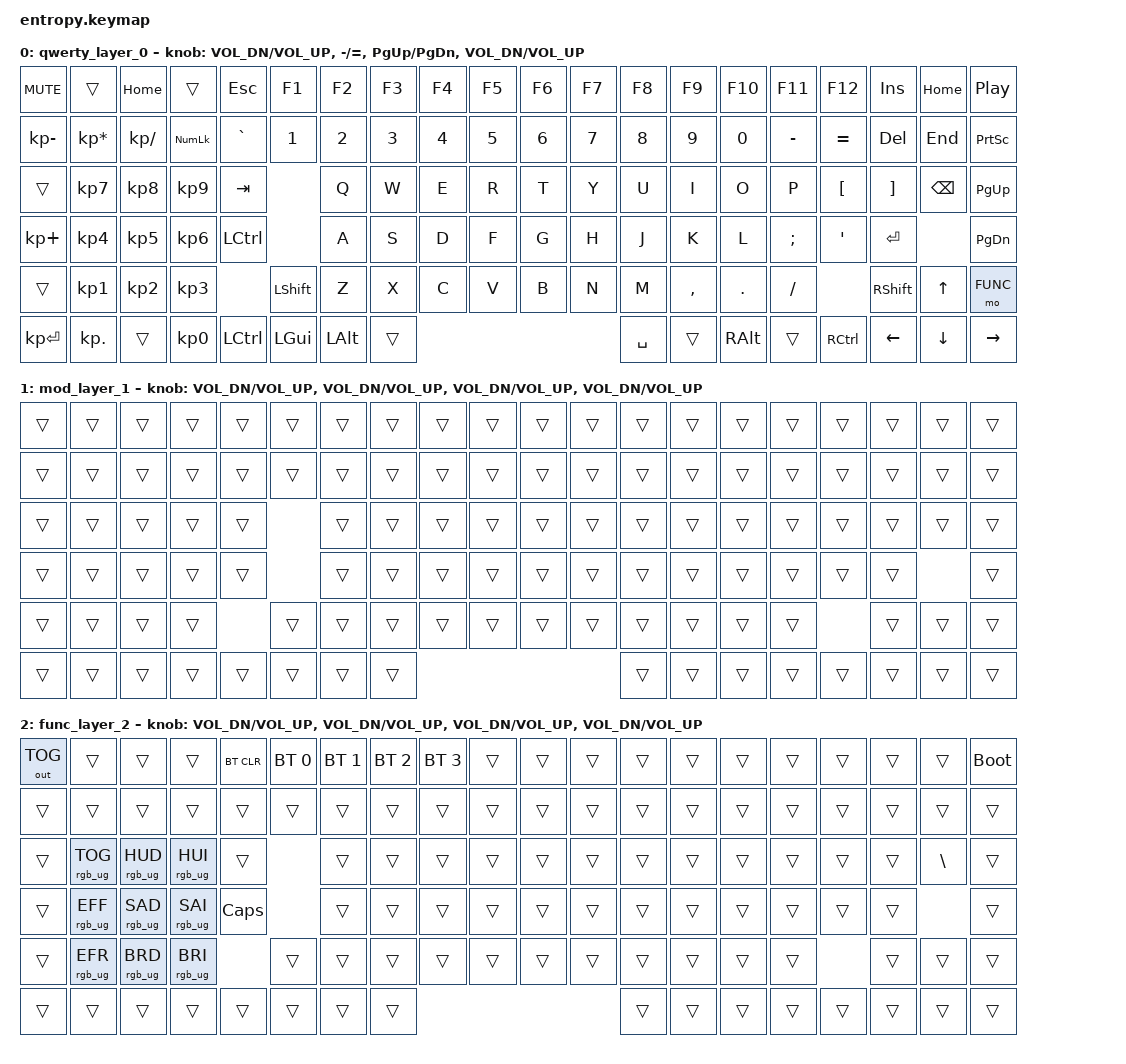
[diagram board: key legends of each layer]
/*
 * Copyright (c) 2021 Josh Johnson
 *
 * SPDX-License-Identifier: MIT
 */

#include <behaviors.dtsi>
#include <dt-bindings/zmk/keys.h>
#include <dt-bindings/zmk/rgb.h>
#include <dt-bindings/zmk/bt.h>
#include <dt-bindings/zmk/outputs.h>

#define QWER 0
#define MOD  1
#define FUNC 2

// "DNP" Denotes where a key can be placed but is not, " " is not a valid key position
// |   0   |   1   |   2   |   3   |   4   |   5   |   6   |   7   |   8   |   9   |   10  |   11  |   12  |   13  |   14  |   15  |   16  |   17  |   18  |   19  |
// |---------------------------------------------------------------------------------------------------------------------------------------------------------------|
// | MUTE  | HOME  | TBD   | TBD   | ESC   | F1    | F2    | F3    | F4    | F5    | F6    | F7    | F8    | F9    | F10   | F11   | F12   | INSRT | HOME  | PAUSE |
// | MNUS  | MUL   | DIV   | NLOCK | ~     | 1     | 2     | 3     | 4     | 5     | 6     | 7     | 8     | 9     | 0     | -     |  =    | DEL   | END   | PSCRN |
// | PLUS  | 7     | 8     | 9     | TAB   |       | Q     | W     | E     | R     | T     | Y     | U     | I     | O     | P     | [     |  ]    | BSPC  | PGUP  |
// | DNP   | 4     | 5     | 6     | LCTRL |       | A     | S     | D     | F     | G     | H     | J     | K     | L     | ;     | '     | ENTER |       | PGDN  |
// | ENTER | 1     | 2     | 3     |       | SHIFT | Z     | X     | C     | V     | B     | N     | M     | ,     | .     | /     |       | SHFT  | UP    | FUNC  |
// | DNP   | DOT   | DNP   | 0     | CTRL  | GUI   |       | ALT   |       | LSPCE | SPACE |       | RSPC  |       | ALT   | DNP   | CTRL  | LEFT  | DOWN  | RIGHT |




/ {
        keymap {
                compatible = "zmk,keymap";

                qwerty_layer_0 {

        bindings = <       
//  |   0        |   1           |   2         |   3        |   4     |   5     |   6  |   7     |   8  |   9         |   10    |   11 |   12    |   13   |   14   |   15    |   16    |   17     |   18   |   19          
    &kp C_MUTE   &trans          &kp HOME      &trans       &kp ESC   &kp F1    &kp F2 &kp F3    &kp F4 &kp F5        &kp F6    &kp F7 &kp F8    &kp F9    &kp F10  &kp F11   &kp F12   &kp INSERT &kp HOME &kp C_PP
    &kp KP_MINUS &kp KP_MULTIPLY &kp KP_DIVIDE &kp KP_NUM   &kp GRAVE &kp N1    &kp N2 &kp N3    &kp N4 &kp N5        &kp N6    &kp N7 &kp N8    &kp N9    &kp N0   &kp MINUS &kp EQUAL &kp DEL    &kp END  &kp PSCRN
    &trans       &kp KP_N7       &kp KP_N8     &kp KP_N9    &kp TAB             &kp Q  &kp W     &kp E  &kp R         &kp T     &kp Y  &kp U     &kp I     &kp O    &kp P     &kp LBKT  &kp RBKT   &kp BSPC &kp PG_UP
    &kp KP_PLUS  &kp KP_N4       &kp KP_N5     &kp KP_N6    &kp LCTRL           &kp A  &kp S     &kp D  &kp F         &kp G     &kp H  &kp J     &kp K     &kp L    &kp SEMI  &kp APOS  &kp ENTER           &kp PG_DN
    &trans       &kp KP_N1       &kp KP_N2     &kp KP_N3              &kp LSHFT &kp Z  &kp X     &kp C  &kp V         &kp B     &kp N  &kp M     &kp COMMA &kp DOT  &kp FSLH            &kp RSHFT  &kp UP   &mo FUNC  
    &kp KP_ENTER &kp KP_DOT      &trans        &kp KP_N0    &kp LCTRL &kp LGUI         &kp LALT         &trans        &kp SPACE        &trans            &kp RALT &trans    &kp RCTRL &kp LEFT   &kp DOWN &kp RIGHT
            >;

            sensor-bindings = <&inc_dec_kp C_VOL_DN C_VOL_UP &inc_dec_kp MINUS EQUAL &inc_dec_kp PG_UP PG_DN &inc_dec_kp C_VOL_DN C_VOL_UP>;
        };

                mod_layer_1 {

        bindings = <       
//  |   0        |   1           |   2         |   3       |   4     |   5     |   6        |   7        |   8      |   9      |   10     |   11 |   12    |   13   |   14   |   15    |   16    |   17     |   18     |   19          
    &trans       &trans          &trans        &trans      &trans    &trans    &trans       &trans       &trans     &trans     &trans     &trans &trans    &trans   &trans   &trans    &trans    &trans     &trans     &trans   
    &trans       &trans          &trans        &trans      &trans    &trans    &trans       &trans       &trans     &trans     &trans     &trans &trans    &trans   &trans   &trans    &trans    &trans     &trans     &trans 
    &trans       &trans          &trans        &trans      &trans              &trans       &trans       &trans     &trans     &trans     &trans &trans    &trans   &trans   &trans    &trans    &trans     &trans     &trans
    &trans       &trans          &trans        &trans      &trans              &trans       &trans       &trans     &trans     &trans     &trans &trans   &trans    &trans   &trans    &trans    &trans                &trans
    &trans       &trans          &trans        &trans                &trans    &trans       &trans       &trans     &trans     &trans     &trans &trans    &trans   &trans   &trans              &trans     &trans     &trans  
    &trans       &trans          &trans        &trans      &trans    &trans                 &trans                  &trans     &trans            &trans             &trans   &trans    &trans    &trans     &trans     &trans
            >;

            sensor-bindings = <&inc_dec_kp C_VOL_DN C_VOL_UP &inc_dec_kp C_VOL_DN C_VOL_UP &inc_dec_kp C_VOL_DN C_VOL_UP &inc_dec_kp C_VOL_DN C_VOL_UP>;
        };

                func_layer_2 {

        bindings = <       
//  |   0        |   1           |   2           |   3           |   4        |   5        |   6        |   7        |   8        |   9        |   10    |   11 |   12    |   13   |   14   |   15    |   16    |   17     |   18     |   19          
    &out OUT_TOG &trans          &trans          &trans          &bt BT_CLR   &bt BT_SEL 0 &bt BT_SEL 1 &bt BT_SEL 2 &bt BT_SEL 3 &trans       &trans    &trans &trans    &trans   &trans   &trans    &trans    &trans     &trans     &bootloader   
    &trans       &trans          &trans          &trans          &trans       &trans       &trans       &trans       &trans       &trans       &trans    &trans &trans    &trans   &trans   &trans    &trans    &trans     &trans     &trans
    &trans       &rgb_ug RGB_TOG &rgb_ug RGB_HUD &rgb_ug RGB_HUI &trans                    &trans       &trans       &trans       &trans       &trans    &trans &trans    &trans   &trans   &trans    &trans    &trans     &kp BSLH   &trans
    &trans       &rgb_ug RGB_EFF &rgb_ug RGB_SAD &rgb_ug RGB_SAI &kp CAPS                  &trans       &trans       &trans       &trans       &trans    &trans &trans    &trans   &trans   &trans    &trans    &trans                &trans
    &trans       &rgb_ug RGB_EFR &rgb_ug RGB_BRD &rgb_ug RGB_BRI              &trans       &trans       &trans       &trans       &trans       &trans    &trans &trans    &trans   &trans   &trans              &trans     &trans     &trans  
    &trans       &trans          &trans          &trans          &trans       &trans                    &trans                    &trans       &trans           &trans             &trans   &trans    &trans    &trans     &trans     &trans
            >;

            sensor-bindings = <&inc_dec_kp C_VOL_DN C_VOL_UP &inc_dec_kp C_VOL_DN C_VOL_UP &inc_dec_kp C_VOL_DN C_VOL_UP &inc_dec_kp C_VOL_DN C_VOL_UP>;
        };
        };
};
